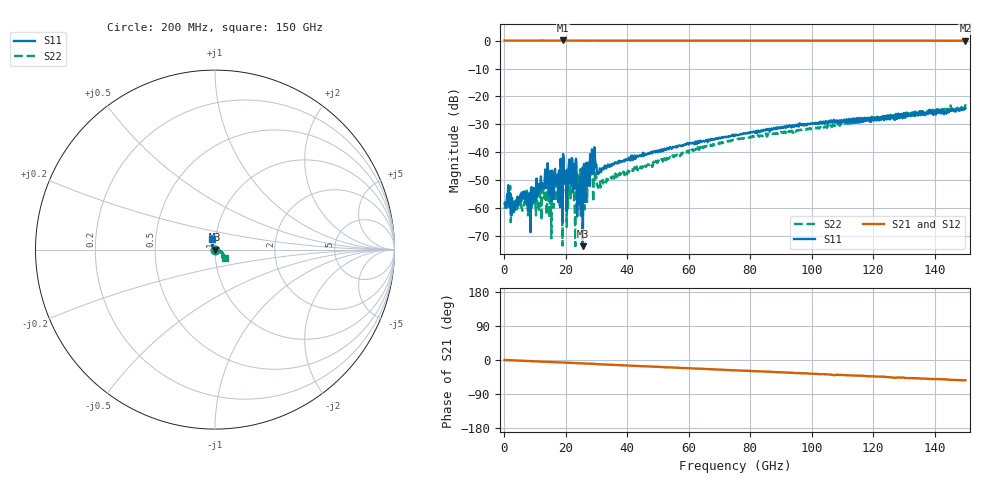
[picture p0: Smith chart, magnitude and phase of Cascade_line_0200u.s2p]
!  2-Port S-parameters saved by WinCal
! VAR MeasName=S-Parameters (CALIBRATED_DATA) read from VNA (MS4647B)
! VAR MeasDate=16-Sep-21 11:50:06
! VAR NAME=1ps_200u
! VAR FILENAME=1ps_200u.S2P
! VAR DATE=16-Sep-21 11:50:06
! VAR PHYS_PORTS=1,2
! VAR ObjTypeName=DATASET
! VAR IndexType=Frequency
# Hz S RI R 50
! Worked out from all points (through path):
!   750 points, 200 MHz to 150 GHz, reference 50 ohm
!   highest |S21| = 0.03 dB at 19.2 GHz (marker M1); lowest = -0.1 dB at 150 GHz (marker M2)
!   group delay of S21, straight-line fit = 1 ps
!   lowest |S11| = -73.5 dB at 25.6 GHz (marker M3), VSWR 1.00, Z = 50 - j0.00162 ohm
!   |S11| at or under -10 dB: start of sweep to end of sweep
!   |S22| runs from -73.5 to -22.8 dB; largest |S21 - S12| = 0.045
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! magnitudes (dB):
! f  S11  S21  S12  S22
! 200 MHz  -58.3  0.0  0.0  -60.2
! 1.4 GHz  -51.7  0.0  0.0  -57.7
! 6.4 GHz  -56.6  0.0  0.0  -58.9
! 8 GHz  -57.9  0.0  0.0  -60.4
! 13 GHz  -52.8  0.0  0.0  -52.7
! 15.2 GHz  -46.6  0.0  0.0  -54.3
! 17.6 GHz  -57.8  0.0  0.0  -49.9
! 19.2 GHz  -40.6  0.0  0.0  -44.0
! 20.2 GHz  -46.6  0.0  0.0  -55.1
! 21.6 GHz  -51.2  0.0  0.0  -56.5
! 22.6 GHz  -44.1  0.0  0.0  -44.1
! 23.4 GHz  -42.3  0.0  0.0  -43.1
! 24 GHz  -51.3  0.0  0.0  -49.9
! 25.2 GHz  -47.1  0.0  0.0  -47.8
! 25.6 GHz  -73.5  0.0  0.0  -54.0
! 29.2 GHz  -47.6  0.0  0.0  -45.7
! 31 GHz  -47.3  0.0  0.0  -50.2
! 50.2 GHz  -39.6  0.0  0.0  -42.9
! 75.2 GHz  -33.6  0.0  0.0  -35.5
! 100.2 GHz  -29.8  0.0  0.0  -31.3
! 125.2 GHz  -28.0  0.0  0.0  -27.0
! 150 GHz  -24.1  -0.1  -0.1  -22.8
